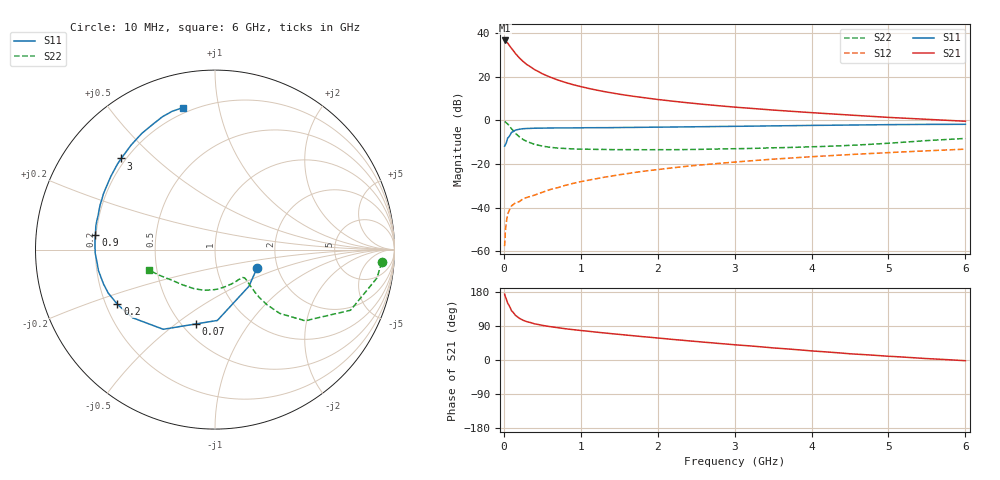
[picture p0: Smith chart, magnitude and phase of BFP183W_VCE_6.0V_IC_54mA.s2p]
! (c) 2017  Infineon Technologies AG, Munich
! Infineon Technologies  Discrete & RF Semiconductors
! BFP183W
! VCE =  6.0 V,  IC =  54 mA
! Common Emitter S-Parameters:  Jan 2017
# GHz  S  MA  R  50
!  f  S11  S21  S12  S22
! GHz  MAG  ANG  MAG  ANG  MAG  ANG  MAG  ANG
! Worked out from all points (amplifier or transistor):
!   77 points, 10 MHz to 6 GHz, reference 50 ohm
!   highest |S21| = 36.6 dB at 10 MHz (marker M1)
!   |S21| within 3 dB of that: start of sweep to 86.2 MHz
!   unconditionally stable (mu >= 1): 601.8 MHz to 3.374 GHz
!   at 130 MHz: K = 0.43, MSG = 35.0 dB, |S12| = -38.4 dB
!   at 2.2 GHz: K = 1.08, MAG = 13.5 dB, |S12| = -21.8 dB
!   at 6 GHz: K = 0.85, MSG = 6.4 dB, |S12| = -13.2 dB
!   S11 on the Smith chart (normalised r, x): 10 MHz: 1.57, -0.34; 70 MHz: 0.58, -0.59; 200 MHz: 0.25, -0.25; 900 MHz: 0.20, +0.06; 3 GHz: 0.18, +0.39; 6 GHz: 0.17, +0.78
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0.01  0.2555 -23.3  67.89 173.8  0.0013 82.8  0.9323 -4.4
0.02  0.2782 -47.0  66.75 166.9  0.0029 86.7  0.9156 -10.0
0.05  0.395 -88.1  59.13 149.9  0.0071 67.0  0.8273 -24.1
0.07  0.4281 -104.5  52.64 143.2  0.0086 61.4  0.7474 -28.9
0.1  0.5293 -123.0  44.73 129.8  0.0109 56.0  0.6404 -38.3
0.15  0.5959 -140.4  34.27 118.1  0.0128 50.7  0.5057 -44.6
0.2  0.6235 -150.7  27.2 110.3  0.0136 52.0  0.4213 -46.7
0.25  0.6424 -157.9  22.42 104.9  0.0159 50.8  0.3646 -47.2
0.3  0.6501 -162.9  18.97 101.1  0.017 52.4  0.3262 -46.9
0.4  0.6596 -169.7  14.53 95.4  0.0193 55.6  0.2809 -45.7
0.5  0.662 -174.6  11.7 91.4  0.0223 58.5  0.2567 -44.6
0.6  0.6679 -178.4  9.816 88.1  0.0258 60.4  0.2407 -44.0
0.7  0.6688 178.5  8.426 85.3  0.0286 63.7  0.2311 -43.6
0.9  0.6709 173.0  6.57 80.1  0.0358 65.6  0.221 -44.9
1.1  0.6771 168.6  5.405 75.8  0.0424 66.7  0.2172 -46.9
1.5  0.6834 160.6  3.979 67.6  0.0565 67.6  0.2125 -53.1
2.1  0.6995 149.7  2.874 56.2  0.0779 66.2  0.2121 -66.8
3  0.7285 135.8  2.009 40.2  0.1103 61.5  0.2235 -91.5
3.1  0.7313 134.4  1.948 38.7  0.1139 60.9  0.2247 -94.3
4.1  0.7674 121.0  1.462 22.6  0.1498 54.5  0.2501 -121.6
5.1  0.7978 110.7  1.144 8.8  0.1853 47.5  0.3066 -147.9
6  0.8109 102.8  0.953 -1.9  0.2182 40.9  0.3845 -162.7
